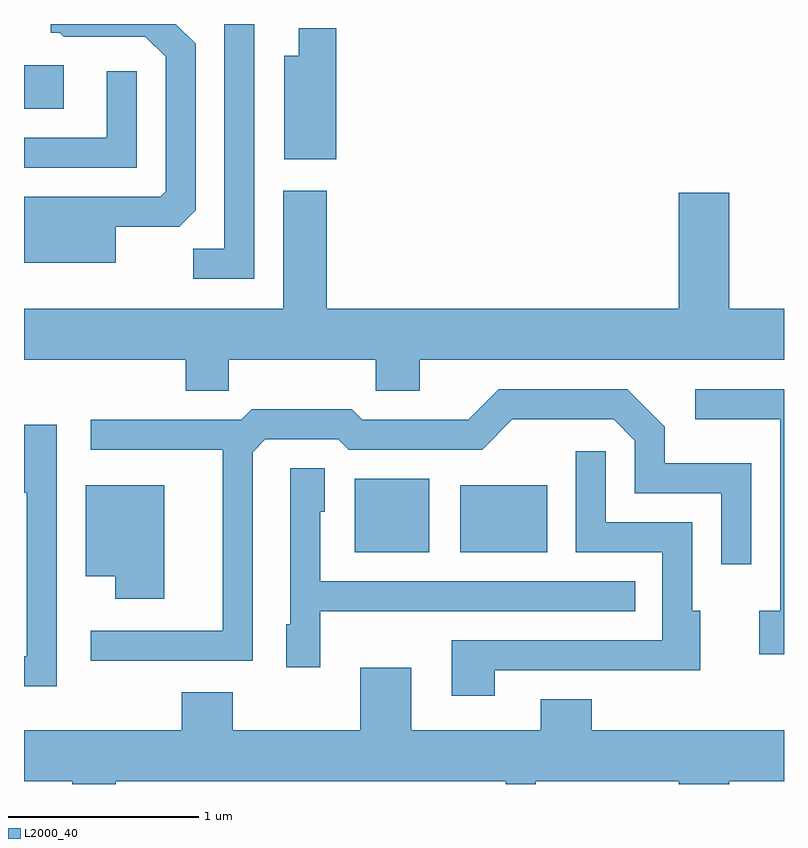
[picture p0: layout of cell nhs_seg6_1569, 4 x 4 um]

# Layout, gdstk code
import gdstk
lib = gdstk.Library(unit=1e-6, precision=1e-09)
def R(c, l, rs):  # rectangles x0, y0, x1, y1
    for r in rs: c.add(gdstk.rectangle(r[:2], r[2:], *l))
def P(c, l, *ps):  # polygons
    for p in ps: c.add(gdstk.Polygon(p, *l))
L2000_40 = (2000, 40)

nhs_seg6_1569 = lib.new_cell('nhs_seg6_1569')
R(nhs_seg6_1569, L2000_40, [(233.351,1633.381,233.744,1633.769), (233.906,1633.381,234.364,1633.734), (231.611,1635.716,231.819,1635.944)])
P(nhs_seg6_1569, L2000_40, [(232.824,1636.162),(232.666,1636.162),(232.666,1634.979),(232.503,1634.979),(232.503,1634.821),(232.824,1634.821)],
  [(232.094,1635.096),(232.429,1635.096),(232.514,1635.182),(232.514,1636.057),(232.409,1636.162),(231.751,1636.162),(231.751,1636.116),(231.799,1636.116),(231.819,1636.096),(232.249,1636.096),(232.356,1635.989),(232.356,1635.282),(232.329,1635.254),(231.611,1635.254),(231.611,1634.906),(232.094,1634.906)],
  [(233.254,1636.139),(233.056,1636.139),(233.056,1635.994),(232.981,1635.994),(232.981,1635.451),(233.254,1635.451)],
  [(232.204,1635.913),(232.046,1635.913),(232.046,1635.564),(231.611,1635.564),(231.611,1635.406),(232.204,1635.406)],
  [(232.689,1634.396),(233.461,1634.396),(233.461,1634.231),(233.694,1634.231),(233.694,1634.396),(235.611,1634.396),(235.611,1634.664),(235.324,1634.664),(235.324,1635.274),(235.056,1635.274),(235.056,1634.664),(233.204,1634.664),(233.204,1635.284),(232.976,1635.284),(232.976,1634.664),(231.611,1634.664),(231.611,1634.396),(232.461,1634.396),(232.461,1634.231),(232.689,1634.231)],
  [(235.611,1634.239),(235.143,1634.239),(235.143,1634.081),(235.591,1634.081),(235.591,1633.074),(235.481,1633.074),(235.481,1632.846),(235.611,1632.846)],
  [(232.814,1633.909),(232.882,1633.976),(233.264,1633.976),(233.319,1633.921),(234.022,1633.921),(234.182,1634.081),(234.714,1634.081),(234.826,1633.969),(234.826,1633.691),(235.281,1633.691),(235.281,1633.318),(235.439,1633.318),(235.439,1633.849),(234.984,1633.849),(234.984,1634.042),(234.787,1634.239),(234.109,1634.239),(233.949,1634.079),(233.392,1634.079),(233.337,1634.134),(232.809,1634.134),(232.754,1634.079),(231.963,1634.079),(231.963,1633.921),(232.656,1633.921),(232.656,1632.969),(231.963,1632.969),(231.963,1632.811),(232.814,1632.811)],
  [(231.784,1634.054),(231.611,1634.054),(231.611,1633.696),(231.626,1633.696),(231.626,1632.834),(231.611,1632.834),(231.611,1632.676),(231.784,1632.676)],
  [(234.089,1632.761),(235.169,1632.761),(235.169,1633.074),(235.129,1633.074),(235.129,1633.539),(234.674,1633.539),(234.674,1633.913),(234.516,1633.913),(234.516,1633.381),(234.971,1633.381),(234.971,1632.919),(233.861,1632.919),(233.861,1632.626),(234.089,1632.626)],
  [(233.169,1633.071),(234.828,1633.071),(234.828,1633.229),(233.169,1633.229),(233.169,1633.596),(233.194,1633.596),(233.194,1633.824),(233.011,1633.824),(233.011,1633.004),(232.991,1633.004),(232.991,1632.776),(233.169,1632.776)],
  [(232.349,1633.734),(231.936,1633.734),(231.936,1633.256),(232.091,1633.256),(232.091,1633.136),(232.349,1633.136)],
  [(232.094,1632.176),(234.146,1632.176),(234.146,1632.162),(234.304,1632.162),(234.304,1632.176),(235.056,1632.176),(235.056,1632.162),(235.324,1632.162),(235.324,1632.176),(235.611,1632.176),(235.611,1632.444),(234.599,1632.444),(234.599,1632.609),(234.331,1632.609),(234.331,1632.444),(233.649,1632.444),(233.649,1632.774),(233.381,1632.774),(233.381,1632.444),(232.709,1632.444),(232.709,1632.644),(232.441,1632.644),(232.441,1632.444),(231.611,1632.444),(231.611,1632.176),(231.866,1632.176),(231.866,1632.162),(232.094,1632.162)])

lib.write_gds('nhs_seg6_1569.gds')
